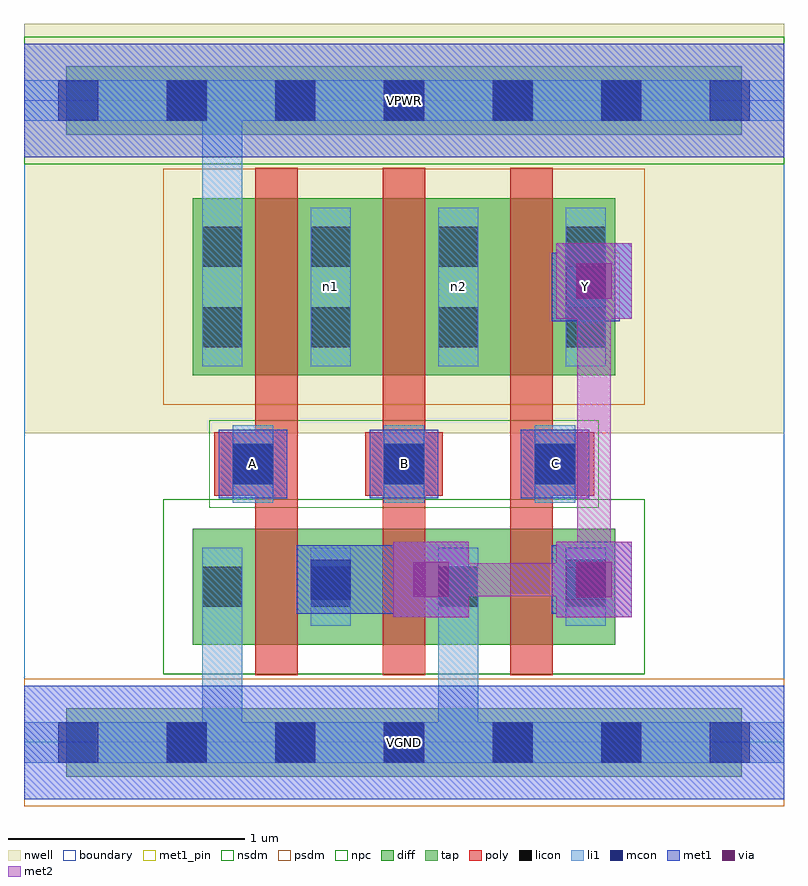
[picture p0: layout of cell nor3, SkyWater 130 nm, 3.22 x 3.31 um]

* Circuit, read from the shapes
.subckt nor3 A B C VGND VPWR Y n1 n2
XM1 Y A VGND VGND sky130_fd_pr__nfet_01v8 w=0.49 l=0.18
XM2 VGND B Y VGND sky130_fd_pr__nfet_01v8 w=0.49 l=0.18
XM3 Y C VGND VGND sky130_fd_pr__nfet_01v8 w=0.49 l=0.18
XM4 n1 A VPWR VPWR sky130_fd_pr__pfet_01v8 w=0.75 l=0.18
XM5 n2 B n1 VPWR sky130_fd_pr__pfet_01v8 w=0.75 l=0.18
XM6 Y C n2 VPWR sky130_fd_pr__pfet_01v8 w=0.75 l=0.18
.ends

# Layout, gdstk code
import gdstk
lib = gdstk.Library(unit=1e-6, precision=1e-09)
def R(c, l, rs):  # rectangles x0, y0, x1, y1
    for r in rs: c.add(gdstk.rectangle(r[:2], r[2:], *l))
def A(c, l, x, y, w, h, nx, ny, dx, dy):  # array of equal rectangles
    R(c, l, [(x+i*dx, y+j*dy, x+i*dx+w, y+j*dy+h) for i in range(nx) for j in range(ny)])
nwell = (64, 20)
diff = (65, 20)
tap = (65, 44)
poly = (66, 20)
licon = (66, 44)
li1 = (67, 20)
mcon = (67, 44)
met1_pin = (68, 16)
met1 = (68, 20)
via = (68, 44)
met2 = (69, 20)
nsdm = (93, 44)
psdm = (94, 20)
npc = (95, 20)
boundary = (235, 4)

nor3 = lib.new_cell('nor3')
R(nor3, nwell, [(0,1.31,3.22,3.045)])
R(nor3, diff, [(0.715,0.415,2.505,0.905), (0.715,1.555,2.505,2.305)])
R(nor3, tap, [(0.18,-0.145,3.04,0.145), (0.18,2.575,3.04,2.865)])
A(nor3, poly, 0.98, 0.285, 0.18, 2.15, 3, 1, 0.54, 0)
A(nor3, poly, 0.805, 1.045, 0.33, 0.27, 3, 1, 0.64, 0)
A(nor3, licon, 0.605, -0.085, 0.17, 0.17, 5, 2, 0.46, 2.72)
A(nor3, licon, 1.215, 0.575, 0.17, 0.17, 3, 2, 0.54, 1.1)
A(nor3, licon, 0.885, 1.095, 0.17, 0.17, 3, 1, 0.64, 0)
A(nor3, licon, 1.215, 2.015, 0.17, 0.17, 3, 1, 0.54, 0)
R(nor3, licon, [(0.755,0.575,0.925,0.745), (0.755,1.675,0.925,1.845), (0.755,2.015,0.925,2.185)])
A(nor3, li1, 1.215, 0.495, 0.17, 0.33, 3, 1, 0.54, 0)
A(nor3, li1, 0.885, 1.015, 0.17, 0.33, 3, 1, 0.64, 0)
A(nor3, li1, 1.215, 1.595, 0.17, 0.67, 3, 1, 0.54, 0)
R(nor3, li1, [(0,-0.085,3.22,0.085), (0.755,-0.085,0.925,0.825), (1.755,-0.085,1.925,0.825), (0.755,0.495,0.925,0.825), (0.755,1.595,0.925,2.265), (0.755,1.595,0.925,2.805), (0,2.635,3.22,2.805)])
A(nor3, mcon, 0.145, -0.085, 0.17, 0.17, 7, 2, 0.46, 2.72)
A(nor3, mcon, 0.885, 1.095, 0.17, 0.17, 3, 1, 0.64, 0)
R(nor3, mcon, [(1.215,0.605,1.385,0.775), (2.295,0.605,2.465,0.775), (2.295,1.845,2.465,2.015)])
A(nor3, met1_pin, 0.825, 1.035, 0.29, 0.29, 3, 1, 0.64, 0)
R(nor3, met1_pin, [(0,-0.24,3.22,0.24), (2.235,1.785,2.525,2.075), (0,2.48,3.22,2.96)])
A(nor3, met1, 0.825, 1.035, 0.29, 0.29, 3, 1, 0.64, 0)
R(nor3, met1, [(0,-0.24,3.22,0.24), (1.565,0.53,1.885,0.85), (2.255,0.53,2.575,0.85), (1.155,0.545,1.445,0.835), (1.445,0.545,1.565,0.835), (2.235,0.545,2.525,0.835), (1.23,0.62,1.565,0.76), (1.425,0.62,1.795,0.76), (2.31,0.62,2.485,0.76), (2.235,1.785,2.525,2.075), (2.255,1.795,2.575,2.115), (2.345,1.885,2.485,2.025), (0,2.48,3.22,2.96)])
R(nor3, via, [(1.65,0.615,1.8,0.765), (2.34,0.615,2.49,0.765), (2.34,1.88,2.49,2.03)])
R(nor3, met2, [(1.565,0.53,1.885,0.85), (2.255,0.53,2.575,0.85), (1.655,0.62,2.485,0.76), (2.345,0.62,2.485,2.025), (2.255,1.795,2.575,2.115)])
R(nor3, nsdm, [(0.59,0.29,2.63,1.03), (0,2.45,3.22,2.99)])
R(nor3, psdm, [(0,-0.27,3.22,0.27), (0.59,1.43,2.63,2.43)])
R(nor3, npc, [(0.785,0.995,2.435,1.365)])
R(nor3, boundary, [(0,0,3.22,2.72)])
nor3.add(gdstk.Label('n1', (1.3,1.93), layer=67, texttype=5))
nor3.add(gdstk.Label('n2', (1.84,1.93), layer=67, texttype=5))
nor3.add(gdstk.Label('A', (0.97,1.18), layer=68, texttype=5))
nor3.add(gdstk.Label('B', (1.61,1.18), layer=68, texttype=5))
nor3.add(gdstk.Label('C', (2.25,1.18), layer=68, texttype=5))
nor3.add(gdstk.Label('Y', (2.38,1.93), layer=68, texttype=5))
nor3.add(gdstk.Label('VPWR', (1.61,2.72), layer=68, texttype=5))
nor3.add(gdstk.Label('VGND', (1.61,0), layer=68, texttype=5))
nor3.add(gdstk.Label('A', (0.97,1.18), layer=68, texttype=16))
nor3.add(gdstk.Label('B', (1.61,1.18), layer=68, texttype=16))
nor3.add(gdstk.Label('C', (2.25,1.18), layer=68, texttype=16))
nor3.add(gdstk.Label('Y', (2.38,1.93), layer=68, texttype=16))
nor3.add(gdstk.Label('VPWR', (1.61,2.72), layer=68, texttype=16))
nor3.add(gdstk.Label('VGND', (1.61,0), layer=68, texttype=16))

lib.write_gds('nor3.gds')
